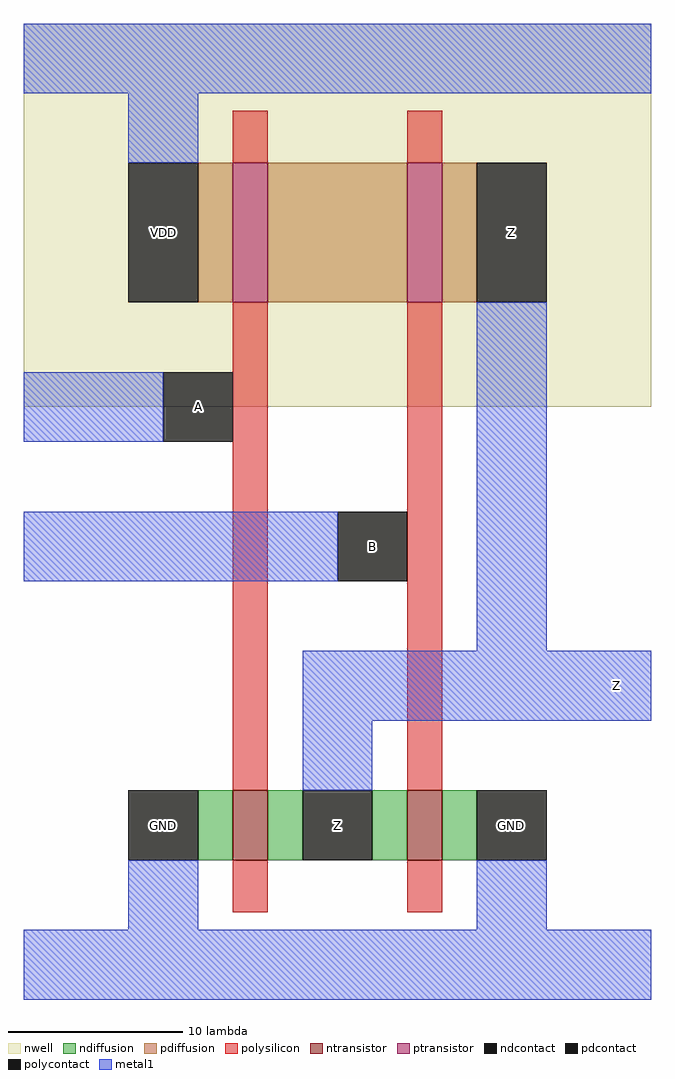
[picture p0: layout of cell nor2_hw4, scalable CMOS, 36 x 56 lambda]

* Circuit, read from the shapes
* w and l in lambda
.subckt nor2_hw4 A B GND VDD Z
M1 Z A GND VSUBS nfet w=4 l=2
M2 GND B Z VSUBS nfet w=4 l=2
M3 n1 A VDD n2 pfet w=8 l=2
M4 Z B n1 n2 pfet w=8 l=2
.ends

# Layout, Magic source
magic
tech scmos
<< nwell >>
rect 0 34 36 56
<< ntransistor >>
rect 12 8 14 12
rect 22 8 24 12
<< ptransistor >>
rect 12 40 14 48
rect 22 40 24 48
<< ndiffusion >>
rect 10 8 12 12
rect 14 8 16 12
rect 20 8 22 12
rect 24 8 26 12
<< pdiffusion >>
rect 10 40 12 48
rect 14 40 22 48
rect 24 40 26 48
<< ndcontact >>
rect 6 8 10 12
rect 16 8 20 12
rect 26 8 30 12
<< pdcontact >>
rect 6 40 10 48
rect 26 40 30 48
<< polysilicon >>
rect 12 48 14 51
rect 22 48 24 51
rect 12 12 14 40
rect 22 12 24 40
rect 12 5 14 8
rect 22 5 24 8
<< polycontact >>
rect 8 32 12 36
rect 18 24 22 28
<< metal1 >>
rect 0 52 36 56
rect 6 48 10 52
rect 0 32 8 36
rect 0 24 18 28
rect 26 20 30 40
rect 16 16 36 20
rect 16 12 20 16
rect 6 4 10 8
rect 26 4 30 8
rect 0 0 36 4
<< labels >>
rlabel ndcontact 8 10 8 10 1 GND
rlabel ndcontact 18 10 18 10 1 Z
rlabel ndcontact 28 10 28 10 1 GND
rlabel polycontact 10 34 10 34 1 A
rlabel polycontact 20 26 20 26 1 B
rlabel pdcontact 8 44 8 44 1 VDD
rlabel pdcontact 28 44 28 44 1 Z
rlabel metal1 34 18 34 18 1 Z
<< end >>
